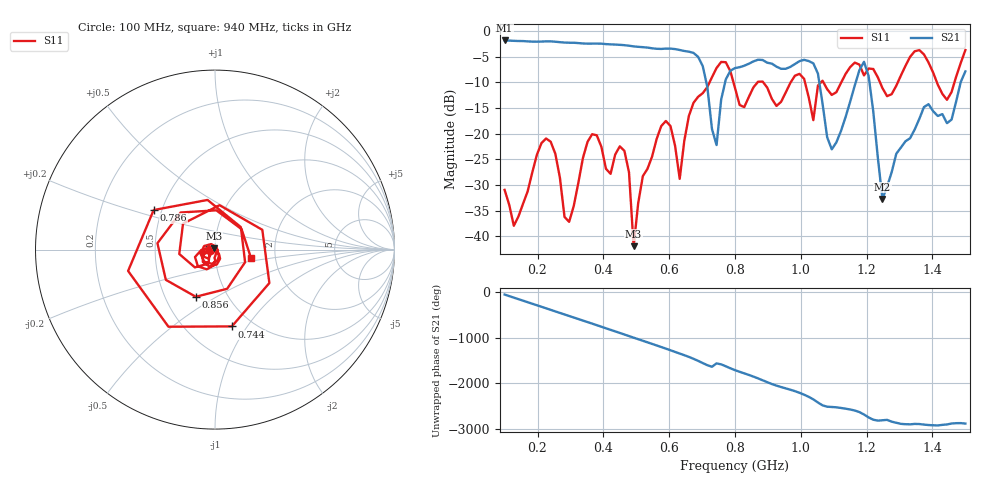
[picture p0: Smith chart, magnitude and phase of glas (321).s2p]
! NanoVNA-App
! Date: 2025-09-25 15:57:58
! Start: 100MHz Stop: 1,5GHz Points: 101
! S-Parameter data: F S11 S21 S12 S22
# Hz S RI R 50
!  Frequency  S11_Real  S11_Imag  S21_Real  S21_Imag  S12_Real  S12_Imag  S22_Real  S22_Imag
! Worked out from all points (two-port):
!   101 points, 100 MHz to 1.5 GHz, reference 50 ohm
!   highest |S21| = -1.80 dB at 100 MHz (marker M1); lowest = -32.7 dB at 1.248 GHz (marker M2)
!   |S21| within 3 dB of the highest: start of sweep to 684.4 MHz
!   lowest |S11| = -41.9 dB at 492 MHz (marker M3), VSWR 1.02, Z = 49.5 + j0.607 ohm
!   |S11| at or under -10 dB: start of sweep to 722.5 MHz; 795.4 MHz to 868.1 MHz (72.69 MHz wide, 8.74 % of centre); 886.1 MHz to 969 MHz (82.87 MHz wide, 8.93 % of centre) (the widest 3 of 7)
!   S12 and S22 are empty: the file has one direction only
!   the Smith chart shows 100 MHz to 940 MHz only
!   S11 on the Smith chart (normalised r, x): 100 MHz: 0.95, -0.01; 744 MHz: 0.80, -0.85; 786 MHz: 0.45, +0.24; 856 MHz: 0.71, -0.41; 940 MHz: 1.49, -0.14
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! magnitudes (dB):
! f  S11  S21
! 100 MHz  -30.9  -1.8
! 128 MHz  -37.9  -1.9
! 226 MHz  -20.9  -2.0
! 296 MHz  -37.2  -2.2
! 338 MHz  -24.7  -2.4
! 464 MHz  -23.3  -2.7
! 492 MHz  -41.9  -3.0
! 576 MHz  -18.5  -3.5
! 632 MHz  -28.8  -3.7
! 702 MHz  -12.1  -6.8
! 744 MHz  -7.2  -22.2
! 786 MHz  -7.8  -7.7
! 800 MHz  -11.1  -7.2
! 856 MHz  -10.9  -5.9
! 940 MHz  -13.8  -7.3
! 1.038 GHz  -17.3  -6.3
! 1.094 GHz  -12.4  -23.0
! 1.192 GHz  -8.6  -6.0
! 1.248 GHz  -11.1  -32.7
! 1.276 GHz  -12.3  -27.5
! 1.444 GHz  -13.4  -17.9
! 1.5 GHz  -3.7  -7.8
